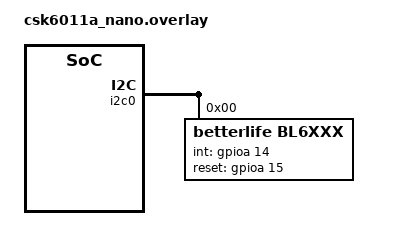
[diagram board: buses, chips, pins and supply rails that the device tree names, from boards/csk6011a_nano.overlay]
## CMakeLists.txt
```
# SPDX-License-Identifier: Apache-2.0

cmake_minimum_required(VERSION 3.20.0)

set(SUPPORT_BOARDS csk6012_nano csk6011a_nano)
if(NOT ${BOARD} IN_LIST SUPPORT_BOARDS)
    message("Please choose one of the following boards:")
    foreach(item ${SUPPORT_BOARDS})
        message(STATUS ${item})
    endforeach()
    message(FATAL_ERROR "\nThe project does not support the ${BOARD}")
endif()

find_package(Zephyr HINTS $ENV{ZEPHYR_BASE})
project(KSCAN)

target_sources(app PRIVATE src/main.c)
```

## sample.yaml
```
tests:
  samples.boards.csk6.driver.kscan.bl6xxx:
    platform_allow: csk6011a_nano csk6012_nano
    tags: csk6
    timeout: 10
    build_only: true
    harness: console
    harness_config:
      type: one_line
      regex:
        - "bl6xxx sample application start"
```

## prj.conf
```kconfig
CONFIG_LOG=y
CONFIG_GPIO=y
CONFIG_I2C=y
CONFIG_KSCAN=y
CONFIG_KSCAN_BL6XXX=y
```

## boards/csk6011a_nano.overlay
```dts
/*
 * Copyright (c) 2023 Anhui(Shenzhen) Listenai Co., Ltd.
 *
 * SPDX-License-Identifier: Apache-2.0
 */
&pinctrl {

	pinctrl_i2c0_scl_default: i2c0_scl_default{
		pinctrls = <I2C0_SCL_GPIOB_04>;
	};

	pinctrl_i2c0_sda_default: i2c0_sda_default{
		pinctrls = <I2C0_SDA_GPIOB_03>;
	};

};

&i2c0 {
	status = "okay";
	pinctrl-0 = <&pinctrl_i2c0_scl_default &pinctrl_i2c0_sda_default>;
	pinctrl-names = "default";
	bl6xxx@0 {
			compatible = "betterlife,bl6xxx";
			reg = <0>;
			label = "BL6XXX";
			status = "okay";
			int-gpios = <&gpioa 14 0>;
			reset-gpios = <&gpioa 15 0>;
	};
};
```

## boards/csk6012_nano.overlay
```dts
/*
 * Copyright (c) 2023 Anhui(Shenzhen) Listenai Co., Ltd.
 *
 * SPDX-License-Identifier: Apache-2.0
 */
&pinctrl {

	pinctrl_i2c0_scl_default: i2c0_scl_default{
		pinctrls = <I2C0_SCL_GPIOB_04>;
	};

	pinctrl_i2c0_sda_default: i2c0_sda_default{
		pinctrls = <I2C0_SDA_GPIOB_03>;
	};

};

&i2c0 {
	status = "okay";
	pinctrl-0 = <&pinctrl_i2c0_scl_default &pinctrl_i2c0_sda_default>;
	pinctrl-names = "default";
	bl6xxx:bl6xxx@0 {
			compatible = "betterlife,bl6xxx";
			reg = <0>;
			status = "okay";
			int-gpios = <&gpioa 14 0>;
			reset-gpios = <&gpioa 15 0>;
	};
};
```

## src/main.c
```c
/*
 * Copyright (c) 2023 Anhui(Shenzhen) Listenai Co., Ltd.
 *
 * SPDX-License-Identifier: Apache-2.0
 */

#include <zephyr/drivers/gpio.h>
#include <zephyr/drivers/kscan.h>
#include <soc.h>
#include <zephyr/sys/printk.h>
#include <zephyr/zephyr.h>

#define KSCAN_DEVICE DT_LABEL(DT_INST(0, betterlife_bl6xxx))

static void kb_callback(const struct device *dev, uint32_t row, uint32_t col, bool pressed)
{
	ARG_UNUSED(dev);

	printk("Key row = %d col = %d Pressed = %u\n", row, col, pressed);
}

void main(void)
{
	const struct device *kscan_dev = device_get_binding(KSCAN_DEVICE);
	int ret = 0;

	if (!device_is_ready(kscan_dev)) {
		printk("kscan device  not ready \n");
		return;
	}

	ret = kscan_config(kscan_dev, kb_callback);
	if (ret != 0) {
		printk("kscan config error \n");
		return;
	}

	printk("bl6xxx sample application start\n");
}
```
